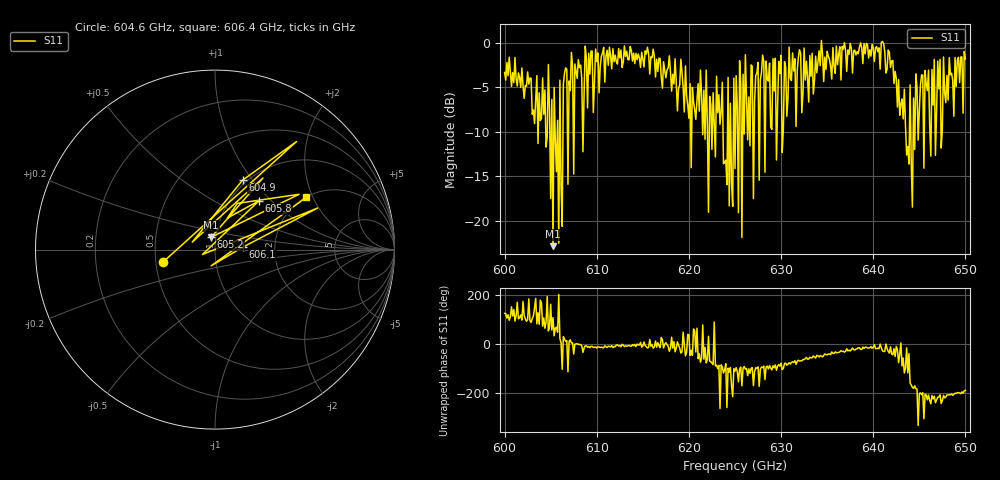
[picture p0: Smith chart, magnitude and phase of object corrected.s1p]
!Created with skrf (http://scikit-rf.org).
# GHz S MA R 50.0
!freq magS11 angS11
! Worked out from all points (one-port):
!   401 points, 600 GHz to 650 GHz, reference 50 ohm
!   lowest |S11| = -22.8 dB at 605.2 GHz (marker M1), VSWR 1.16, Z = 47.5 + j6.58 ohm
!   |S11| at or under -10 dB: 604.4665 GHz to 604.6334 GHz (166.9 MHz wide, 0.0276 % of centre); 623.7009 GHz to 624.1867 GHz (485.8 MHz wide, 0.0779 % of centre); 643.5265 GHz to 643.926 GHz (399.5 MHz wide, 0.0621 % of centre) (the widest 3 of 38)
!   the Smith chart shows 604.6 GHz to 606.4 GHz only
!   S11 on the Smith chart (normalised r, x): 604.6 GHz: 0.55, -0.08; 604.9 GHz: 0.95, +0.89; 605.2 GHz: 0.95, +0.13; 605.8 GHz: 1.35, +0.85; 606.1 GHz: 1.37, +0.04; 606.4 GHz: 2.01, +1.79
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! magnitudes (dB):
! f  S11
! 600 GHz  -3.3
! 604.6 GHz  -10.5
! 604.9 GHz  -7.6
! 605.2 GHz  -22.8
! 605.8 GHz  -8.7
! 606.1 GHz  -16.1
! 606.2 GHz  -20.6
! 606.4 GHz  -4.6
! 607.9 GHz  -4.0
! 608.8 GHz  -0.4
! 612.5 GHz  -1.7
! 618.8 GHz  -7.6
! 620.5 GHz  -6.6
! 621.1 GHz  -7.7
! 622.2 GHz  -6.0
! 623.4 GHz  -9.2
! 624.1 GHz  -15.9
! 625 GHz  -14.1
! 628.6 GHz  -4.3
! 630.4 GHz  -2.1
! 631.2 GHz  -1.1
! 637.5 GHz  -0.1
! 641.9 GHz  -2.8
! 643.8 GHz  -11.7
! 644 GHz  -4.7
! 645.9 GHz  -5.4
! 647.6 GHz  -1.6
! 650 GHz  -1.8
